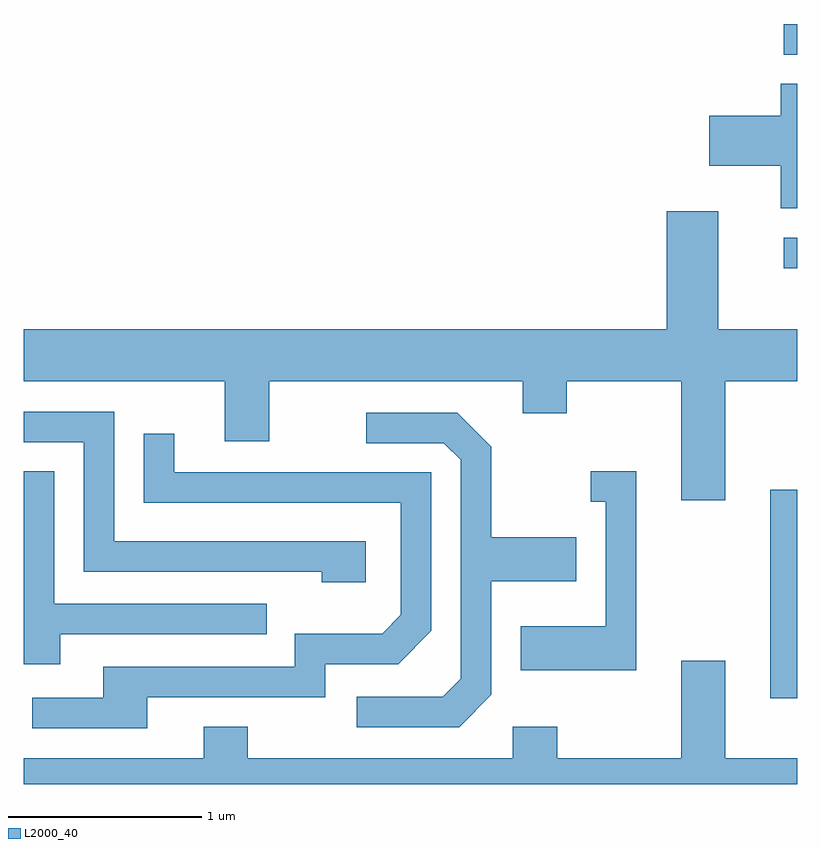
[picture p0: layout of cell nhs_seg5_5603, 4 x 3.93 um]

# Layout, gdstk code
import gdstk
lib = gdstk.Library(unit=1e-6, precision=1e-09)
def R(c, l, rs):  # rectangles x0, y0, x1, y1
    for r in rs: c.add(gdstk.rectangle(r[:2], r[2:], *l))
def P(c, l, *ps):  # polygons
    for p in ps: c.add(gdstk.Polygon(p, *l))
L2000_40 = (2000, 40)

nhs_seg5_5603 = lib.new_cell('nhs_seg5_5603')
R(nhs_seg5_5603, L2000_40, [(355.471,1428.516,355.611,1429.594), (355.543,1430.741,355.611,1430.899), (355.543,1431.846,355.611,1432.004)])
P(nhs_seg5_5603, L2000_40, [(355.611,1431.694),(355.526,1431.694),(355.526,1431.529),(355.156,1431.529),(355.156,1431.271),(355.526,1431.271),(355.526,1431.051),(355.611,1431.051)],
  [(355.239,1430.156),(355.611,1430.156),(355.611,1430.424),(355.204,1430.424),(355.204,1431.034),(354.936,1431.034),(354.936,1430.424),(351.611,1430.424),(351.611,1430.156),(352.651,1430.156),(352.651,1429.846),(352.879,1429.846),(352.879,1430.156),(354.191,1430.156),(354.191,1429.991),(354.419,1429.991),(354.419,1430.156),(355.011,1430.156),(355.011,1429.541),(355.239,1429.541)],
  [(353.379,1429.329),(352.079,1429.329),(352.079,1429.999),(351.611,1429.999),(351.611,1429.841),(351.921,1429.841),(351.921,1429.171),(353.151,1429.171),(353.151,1429.116),(353.379,1429.116)],
  [(354.029,1428.534),(354.029,1429.121),(354.469,1429.121),(354.469,1429.349),(354.029,1429.349),(354.029,1429.817),(353.852,1429.994),(353.383,1429.994),(353.383,1429.836),(353.784,1429.836),(353.871,1429.749),(353.871,1428.617),(353.779,1428.524),(353.333,1428.524),(353.333,1428.366),(353.862,1428.366)],
  [(352.249,1428.521),(353.169,1428.521),(353.169,1428.691),(353.547,1428.691),(353.719,1428.864),(353.719,1429.684),(352.389,1429.684),(352.389,1429.883),(352.231,1429.883),(352.231,1429.526),(353.561,1429.526),(353.561,1428.947),(353.464,1428.849),(353.011,1428.849),(353.011,1428.679),(352.021,1428.679),(352.021,1428.519),(351.653,1428.519),(351.653,1428.361),(352.249,1428.361)],
  [(354.779,1429.689),(354.543,1429.689),(354.543,1429.531),(354.621,1429.531),(354.621,1428.889),(354.181,1428.889),(354.181,1428.661),(354.779,1428.661)],
  [(351.799,1428.846),(352.868,1428.846),(352.868,1429.004),(351.769,1429.004),(351.769,1429.689),(351.611,1429.689),(351.611,1428.691),(351.799,1428.691)],
  [(355.611,1428.204),(355.239,1428.204),(355.239,1428.709),(355.011,1428.709),(355.011,1428.204),(354.369,1428.204),(354.369,1428.369),(354.141,1428.369),(354.141,1428.204),(352.769,1428.204),(352.769,1428.369),(352.541,1428.369),(352.541,1428.204),(351.611,1428.204),(351.611,1428.072),(355.611,1428.072)])

lib.write_gds('nhs_seg5_5603.gds')
